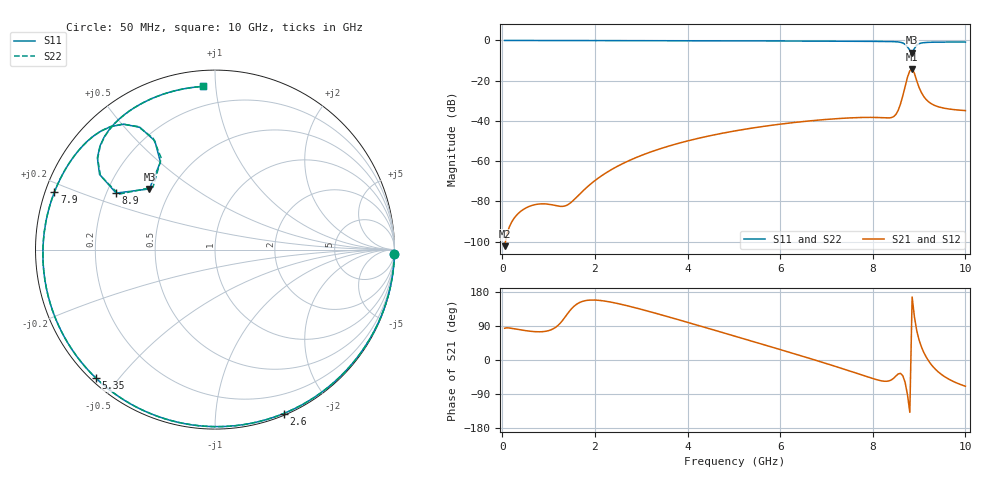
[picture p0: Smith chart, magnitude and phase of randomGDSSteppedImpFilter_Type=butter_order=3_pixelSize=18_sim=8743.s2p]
! freq	dB(S11)	phase(S11)	dB(S12)	phase(S12)
!  dB(S21)	phase(S21)	dB(S22)	phase(S22)
!S-par simulation data
#  GHz  S  DB  R 50
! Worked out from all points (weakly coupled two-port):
!   200 points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, 50 MHz to 10 GHz, reference 50 ohm
!   highest |S21| = -14.11 dB at 8.85 GHz (marker M1); lowest = -102.2 dB at 50 MHz (marker M2)
!   lowest |S11| = -6.1 dB at 8.85 GHz (marker M3), VSWR 2.98, Z = 19 + j17.1 ohm
!   |S11| at or under -10 dB: nowhere
!   |S22| runs from -6.2 to 0.0 dB; largest |S21 - S12| = 0
!   S11 on the Smith chart (normalised r, x): 50 MHz: 0, -86; 2.6 GHz: 0.02, -1.50; 5.35 GHz: 0.01, -0.44; 7.9 GHz: 0.03, +0.17; 8.9 GHz: 0.24, +0.25; 10 GHz: 0.09, +0.92
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0.05  -0.00 -1.3  -102.25 83.8  -102.25 83.8  -0.00 -1.3
1.5  -0.05 -39.5  -80.21 135.9  -80.21 135.9  -0.05 -39.5
1.75  -0.06 -45.9  -74.60 155.4  -74.60 155.4  -0.06 -45.9
2.15  -0.07 -56.1  -67.16 156.6  -67.16 156.6  -0.07 -56.1
2.6  -0.09 -67.3  -61.21 146.0  -61.21 146.0  -0.09 -67.3
3.4  -0.11 -86.8  -53.89 120.3  -53.89 120.3  -0.11 -86.8
4.2  -0.15 -105.8  -48.82 92.3  -48.82 92.3  -0.15 -105.8
5.05  -0.19 -125.8  -44.86 61.9  -44.86 61.9  -0.19 -125.8
5.35  -0.21 -132.8  -43.71 51.1  -43.71 51.1  -0.21 -132.8
6.7  -0.32 -165.9  -39.84 1.8  -39.84 1.8  -0.32 -165.9
7.9  -0.44 160.3  -38.24 -45.0  -38.24 -45.0  -0.44 160.4
8.35  -0.54 144.1  -38.49 -55.1  -38.49 -55.1  -0.54 144.2
8.45  -0.61 139.5  -37.88 -48.2  -37.88 -48.2  -0.60 139.6
8.55  -0.76 133.8  -34.68 -36.7  -34.68 -36.7  -0.75 134.0
8.7  -1.95 121.5  -22.68 -59.9  -22.68 -59.9  -1.85 122.0
8.8  -4.81 121.9  -15.06 -138.1  -15.06 -138.1  -4.57 120.4
8.85  -6.06 137.2  -14.11 166.4  -14.11 166.4  -6.20 134.9
8.9  -3.95 150.2  -16.41 113.4  -16.41 113.4  -4.16 150.1
8.95  -2.29 146.9  -20.11 77.0  -20.11 77.0  -2.38 147.1
9.05  -1.28 137.9  -25.90 34.7  -25.90 34.7  -1.30 138.0
9.25  -0.89 126.2  -31.24 -10.1  -31.24 -10.1  -0.90 126.3
10  -0.80 94.3  -34.85 -69.2  -34.85 -69.2  -0.80 94.3
